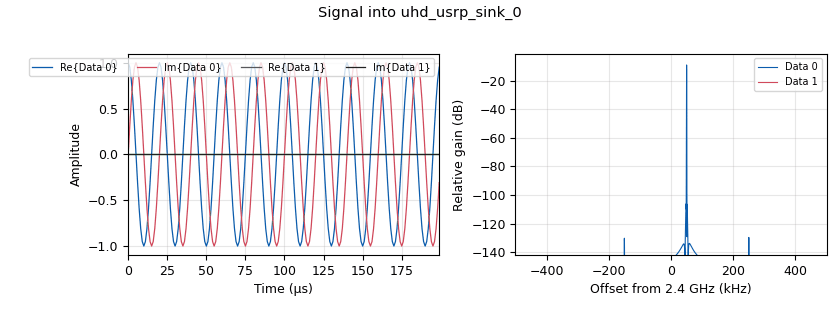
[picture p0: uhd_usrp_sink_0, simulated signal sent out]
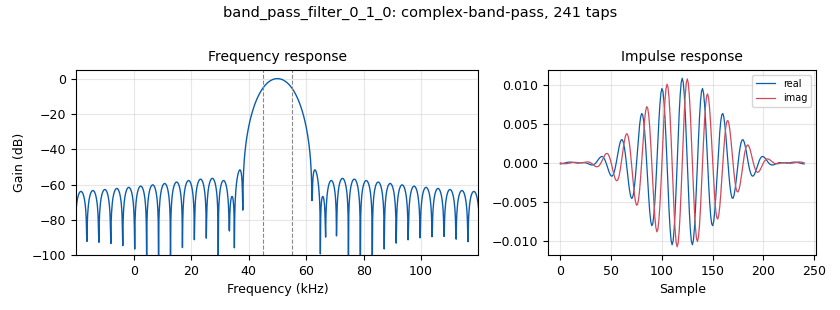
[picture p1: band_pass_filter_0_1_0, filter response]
options:
  parameters:
    generate_options: qt_gui
    id: run_save_phase_mag_corr_coeff_vals
    output_language: python
    title: Save magnitude and phase correcting coefficients
  states: {}

blocks:
- name: center_frequency
  id: variable
  parameters:
    value: '2.4e+9'
  states: {}
- name: chan_bandwidth
  id: variable
  parameters:
    value: '500000'
  states: {}
- name: rx_gain
  id: variable
  parameters:
    value: '60'
  states: {}
- name: samp_rate
  id: variable
  parameters:
    value: '1000000'
  states: {}
- name: tx_gain
  id: variable
  parameters:
    value: '30'
  states: {}
- name: analog_sig_source_x_0
  id: analog_sig_source_x
  parameters:
    amp: '1'
    freq: 50e3
    offset: '0'
    phase: '0'
    samp_rate: samp_rate
    type: complex
    waveform: analog.GR_COS_WAVE
  states: {}
- name: aoa_calc_phase_diff_0
  id: aoa_calc_phase_diff
  parameters:
    node_idx: '1'
    norm_spacing: '0.5'
  states: {}
- name: aoa_calc_phase_diff_0_0
  id: aoa_calc_phase_diff
  parameters:
    node_idx: '1'
    norm_spacing: '0.5'
  states: {}
- name: aoa_precise_moving_average_0
  id: aoa_precise_moving_average
  parameters:
    length: int(1e4)
    max_iter: int(1e4)
  states: {}
- name: aoa_precise_moving_average_0_0
  id: aoa_precise_moving_average
  parameters:
    length: int(1e4)
    max_iter: int(1e4)
  states: {}
- name: aoa_precise_moving_average_0_0_0
  id: aoa_precise_moving_average
  parameters:
    length: int(1e4)
    max_iter: int(1e4)
  states: {}
- name: aoa_precise_moving_average_0_0_0_0
  id: aoa_precise_moving_average
  parameters:
    length: int(1e4)
    max_iter: int(1e4)
  states: {}
- name: band_pass_filter_0_1_0
  id: band_pass_filter
  parameters:
    decim: '1'
    gain: '1'
    high_cutoff_freq: 55e3
    low_cutoff_freq: 45e3
    samp_rate: samp_rate
    type: fir_filter_ccc
    width: 10e3
    win: firdes.WIN_HAMMING
  states: {}
- name: band_pass_filter_0_1_0_0
  id: band_pass_filter
  parameters:
    decim: '1'
    gain: '1'
    high_cutoff_freq: 55e3
    low_cutoff_freq: 45e3
    samp_rate: samp_rate
    type: fir_filter_ccc
    width: 10e3
    win: firdes.WIN_HAMMING
  states: {}
- name: blocks_complex_to_mag_0
  id: blocks_complex_to_mag
  parameters: {}
  states: {}
- name: blocks_complex_to_mag_0_0
  id: blocks_complex_to_mag
  parameters: {}
  states: {}
- name: blocks_complex_to_mag_0_0_0
  id: blocks_complex_to_mag
  parameters: {}
  states: {}
- name: blocks_complex_to_mag_0_1
  id: blocks_complex_to_mag
  parameters: {}
  states: {}
- name: blocks_divide_xx_0
  id: blocks_divide_xx
  parameters:
    type: float
  states: {}
- name: blocks_divide_xx_0_0
  id: blocks_divide_xx
  parameters:
    type: float
  states: {}
- name: blocks_file_sink_0_0
  id: blocks_file_sink
  parameters:
    file: /home/marcin/Desktop/mag_corr_coeff_2_4G_log.bin
    type: float
  states: {}
- name: blocks_file_sink_0_0_0
  id: blocks_file_sink
  parameters:
    file: /home/marcin/Desktop/mag_corr_coeff_filtered_2_4G_log.bin
    type: float
  states: {}
- name: blocks_file_sink_0_0_1
  id: blocks_file_sink
  parameters:
    file: /home/marcin/Desktop/phase_shift_coeff_2_4G_log.bin
    type: float
  states: {}
- name: blocks_file_sink_0_0_1_0
  id: blocks_file_sink
  parameters:
    file: /home/marcin/Desktop/phase_shift_coeff_filtered_2_4G_log.bin
    type: float
  states: {}
- name: blocks_null_source_1
  id: blocks_null_source
  parameters:
    type: complex
  states: {}
- name: blocks_skiphead_0_0_0
  id: blocks_skiphead
  parameters:
    num_items: '1000000'
    type: complex
  states: {}
- name: blocks_skiphead_0_0_0_0
  id: blocks_skiphead
  parameters:
    num_items: '1000000'
    type: complex
  states: {}
- name: fir_filter_xxx_0_0
  id: fir_filter_xxx
  parameters:
    decim: '10000'
    taps: '1'
    type: fff
  states: {}
- name: fir_filter_xxx_0_0_0
  id: fir_filter_xxx
  parameters:
    decim: '10000'
    taps: '1'
    type: fff
  states: {}
- name: fir_filter_xxx_0_0_1
  id: fir_filter_xxx
  parameters:
    decim: '10000'
    taps: '1'
    type: fff
  states: {}
- name: fir_filter_xxx_0_0_1_0
  id: fir_filter_xxx
  parameters:
    decim: '10000'
    taps: '1'
    type: fff
  states: {}
- name: qtgui_number_sink_0
  id: qtgui_number_sink
  parameters:
    graph_type: qtgui.NUM_GRAPH_HORIZ
    label1: Mag not filtered
    label2: Mag filtered
    label3: Phase not filtered
    label4: Phase filtered
    max: '2'
    min: '-2'
    name: '"Coeffs"'
    nconnections: '4'
    type: float
    update_time: '0.5'
  states: {}
- name: uhd_usrp_sink_0
  id: uhd_usrp_sink
  parameters:
    ant0: TX/RX
    ant1: TX/RX
    bw0: chan_bandwidth
    bw1: chan_bandwidth
    center_freq0: center_frequency
    center_freq1: center_frequency
    dev_args: '""'
    gain0: tx_gain
    gain1: tx_gain
    len_tag_name: ''
    nchan: '2'
    norm_gain0: 'False'
    norm_gain1: 'False'
    samp_rate: samp_rate
    sync: sync
    type: fc32
  states: {}
- name: uhd_usrp_source_0_0
  id: uhd_usrp_source
  parameters:
    ant0: RX2
    ant1: RX2
    bw0: samp_rate
    bw1: samp_rate
    center_freq0: center_frequency
    center_freq1: center_frequency
    clock_source0: internal
    dc_offs_enb0: 'True'
    dc_offs_enb1: 'True'
    dev_args: '""'
    gain0: rx_gain
    gain1: rx_gain
    iq_imbal_enb0: 'True'
    iq_imbal_enb1: 'True'
    nchan: '2'
    norm_gain0: 'False'
    norm_gain1: 'False'
    samp_rate: samp_rate
    sync: pc_clock
    type: fc32
  states: {}

connections:
- [analog_sig_source_x_0, '0', uhd_usrp_sink_0, '0']
- [aoa_calc_phase_diff_0, '0', aoa_precise_moving_average_0_0, '0']
- [aoa_calc_phase_diff_0_0, '0', aoa_precise_moving_average_0_0_0_0, '0']
- [aoa_precise_moving_average_0, '0', fir_filter_xxx_0_0, '0']
- [aoa_precise_moving_average_0_0, '0', fir_filter_xxx_0_0_1, '0']
- [aoa_precise_moving_average_0_0_0, '0', fir_filter_xxx_0_0_0, '0']
- [aoa_precise_moving_average_0_0_0_0, '0', fir_filter_xxx_0_0_1_0, '0']
- [band_pass_filter_0_1_0, '0', aoa_calc_phase_diff_0_0, '0']
- [band_pass_filter_0_1_0, '0', blocks_complex_to_mag_0_1, '0']
- [band_pass_filter_0_1_0_0, '0', aoa_calc_phase_diff_0_0, '1']
- [band_pass_filter_0_1_0_0, '0', blocks_complex_to_mag_0_0_0, '0']
- [blocks_complex_to_mag_0, '0', blocks_divide_xx_0, '0']
- [blocks_complex_to_mag_0_0, '0', blocks_divide_xx_0, '1']
- [blocks_complex_to_mag_0_0_0, '0', blocks_divide_xx_0_0, '1']
- [blocks_complex_to_mag_0_1, '0', blocks_divide_xx_0_0, '0']
- [blocks_divide_xx_0, '0', aoa_precise_moving_average_0, '0']
- [blocks_divide_xx_0_0, '0', aoa_precise_moving_average_0_0_0, '0']
- [blocks_null_source_1, '0', uhd_usrp_sink_0, '1']
- [blocks_skiphead_0_0_0, '0', aoa_calc_phase_diff_0, '0']
- [blocks_skiphead_0_0_0, '0', band_pass_filter_0_1_0, '0']
- [blocks_skiphead_0_0_0, '0', blocks_complex_to_mag_0, '0']
- [blocks_skiphead_0_0_0_0, '0', aoa_calc_phase_diff_0, '1']
- [blocks_skiphead_0_0_0_0, '0', band_pass_filter_0_1_0_0, '0']
- [blocks_skiphead_0_0_0_0, '0', blocks_complex_to_mag_0_0, '0']
- [fir_filter_xxx_0_0, '0', blocks_file_sink_0_0, '0']
- [fir_filter_xxx_0_0, '0', qtgui_number_sink_0, '0']
- [fir_filter_xxx_0_0_0, '0', blocks_file_sink_0_0_0, '0']
- [fir_filter_xxx_0_0_0, '0', qtgui_number_sink_0, '1']
- [fir_filter_xxx_0_0_1, '0', blocks_file_sink_0_0_1, '0']
- [fir_filter_xxx_0_0_1, '0', qtgui_number_sink_0, '2']
- [fir_filter_xxx_0_0_1_0, '0', blocks_file_sink_0_0_1_0, '0']
- [fir_filter_xxx_0_0_1_0, '0', qtgui_number_sink_0, '3']
- [uhd_usrp_source_0_0, '0', blocks_skiphead_0_0_0, '0']
- [uhd_usrp_source_0_0, '1', blocks_skiphead_0_0_0_0, '0']

metadata:
  file_format: 1
